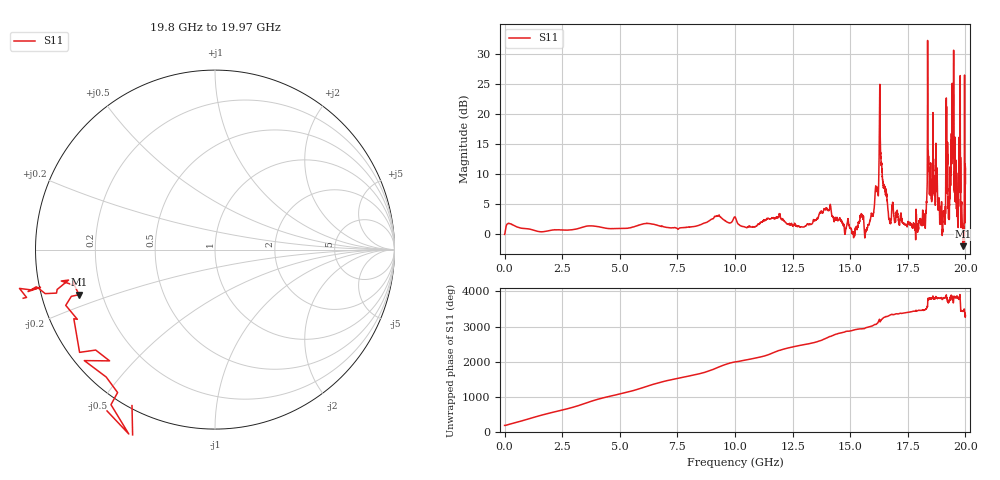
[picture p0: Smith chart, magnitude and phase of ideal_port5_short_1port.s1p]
! Created with skrf 1.8.0 (http://scikit-rf.org).
# GHz S RI R 50.0
!freq ReS11 ImS11
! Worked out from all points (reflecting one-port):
!   10001 points, 1 MHz to 20 GHz, reference 50 ohm
!   lowest |S11| = -2.0 dB at 19.91 GHz (marker M1), VSWR 8.92, Z = 5.75 - j7.98 ohm
!   phase of S11 starts at 180 deg and turns +3124 deg over the sweep
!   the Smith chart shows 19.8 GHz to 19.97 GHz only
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0.001  -1 0.00203
0.9829509  1.108 -0.1216
2.500875  -0.2263 -1.065
3.486826  0.0649 1.159
5.00075  1.116 -0.0815
5.9967  -1.217 0.0746
7.500625  0.1977 1.099
8.336583  -1.133 -0.3079
9.162542  1.397 0.2004
10.0005  -1.382 -0.1939
11.22644  1.284 -0.1894
11.66642  -0.112 1.374
12.50038  -0.2669 -1.159
13.42033  1.213 0.4501
14.0823  -1.573 -0.1704
15.00025  1.118 -0.0981
15.9222  -0.9882 1.117
16.12619  -2.328 -0.044
16.28819  0.3528 -17.59
16.54817  1.57 1.653
17.50013  -1.199 0.272
18.26209  -0.3792 -1.118
18.46408  -1.892 -1.145
19.11604  -0.9571 -0.7443
19.28404  -0.2592 1.356
19.46403  -3.109 -7.958
19.91  -0.7577 -0.2515
20  1.583 3.253
